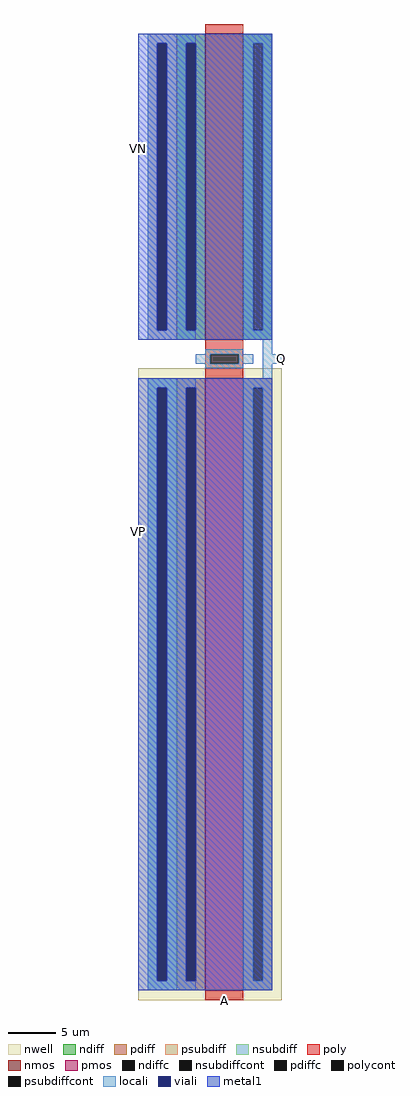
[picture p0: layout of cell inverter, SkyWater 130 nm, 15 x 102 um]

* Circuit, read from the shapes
.subckt inverter VP VN A Q
XM1 Q A VN VN sky130_fd_pr__nfet_01v8 w=32 l=4
XM2 Q A VP VP sky130_fd_pr__pfet_01v8 w=64 l=4
.ends

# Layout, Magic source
magic
tech sky130A
<< nwell >>
rect -400 800 1100 7400
<< nmos >>
rect 300 7700 700 10900
<< pmos >>
rect 300 900 700 7300
<< ndiff >>
rect 0 10800 300 10900
rect 0 7800 100 10800
rect 200 7800 300 10800
rect 0 7700 300 7800
rect 700 10800 1000 10900
rect 700 7800 800 10800
rect 900 7800 1000 10800
rect 700 7700 1000 7800
<< pdiff >>
rect 0 7200 300 7300
rect 0 1000 100 7200
rect 200 1000 300 7200
rect 0 900 300 1000
rect 700 7200 1000 7300
rect 700 1000 800 7200
rect 900 1000 1000 7200
rect 700 900 1000 1000
<< ndiffc >>
rect 100 7800 200 10800
rect 800 7800 900 10800
<< pdiffc >>
rect 100 1000 200 7200
rect 800 1000 900 7200
<< psubdiff >>
rect -300 10800 0 10900
rect -300 7800 -200 10800
rect -100 7800 0 10800
rect -300 7700 0 7800
<< nsubdiff >>
rect -300 7200 0 7300
rect -300 1000 -200 7200
rect -100 1000 0 7200
rect -300 900 0 1000
<< psubdiffcont >>
rect -200 7800 -100 10800
<< nsubdiffcont >>
rect -200 1000 -100 7200
<< poly >>
rect 300 10900 700 11000
rect 300 7550 700 7700
rect 300 7450 350 7550
rect 650 7450 700 7550
rect 300 7300 700 7450
rect 300 800 700 900
<< polycont >>
rect 350 7450 650 7550
<< locali >>
rect -300 10800 200 10900
rect -300 7800 -200 10800
rect -100 7800 100 10800
rect -300 7700 200 7800
rect 700 10800 1000 10900
rect 700 7800 800 10800
rect 900 7800 1000 10800
rect 700 7700 1000 7800
rect 300 7550 700 7600
rect 900 7550 1000 7700
rect 200 7450 350 7550
rect 650 7450 800 7550
rect 900 7450 1100 7550
rect 300 7400 700 7450
rect 900 7300 1000 7450
rect -300 7200 200 7300
rect -300 1000 -200 7200
rect -100 1000 100 7200
rect -300 900 200 1000
rect 700 7200 1000 7300
rect 700 1000 800 7200
rect 900 1000 1000 7200
rect 700 900 1000 1000
<< viali >>
rect -200 7800 -100 10800
rect 100 7800 200 10800
rect -200 1000 -100 7200
rect 100 1000 200 7200
<< metal1 >>
rect -400 10800 1000 10900
rect -400 7800 -200 10800
rect -100 7800 100 10800
rect 200 7800 1000 10800
rect -400 7700 1000 7800
rect -400 7200 1000 7300
rect -400 1000 -200 7200
rect -100 1000 100 7200
rect 200 1000 1000 7200
rect -400 900 1000 1000
<< labels >>
flabel metal1 -400 5700 -400 5700 7 FreeSans 800 0 0 0 VP
port 3 w
flabel metal1 -400 9700 -400 9700 7 FreeSans 800 0 0 0 VN
port 4 w
flabel locali 1100 7500 1100 7500 3 FreeSans 800 0 0 0 Q
port 6 e
flabel poly 500 800 500 800 5 FreeSans 800 0 0 0 A
port 5 s
<< end >>
